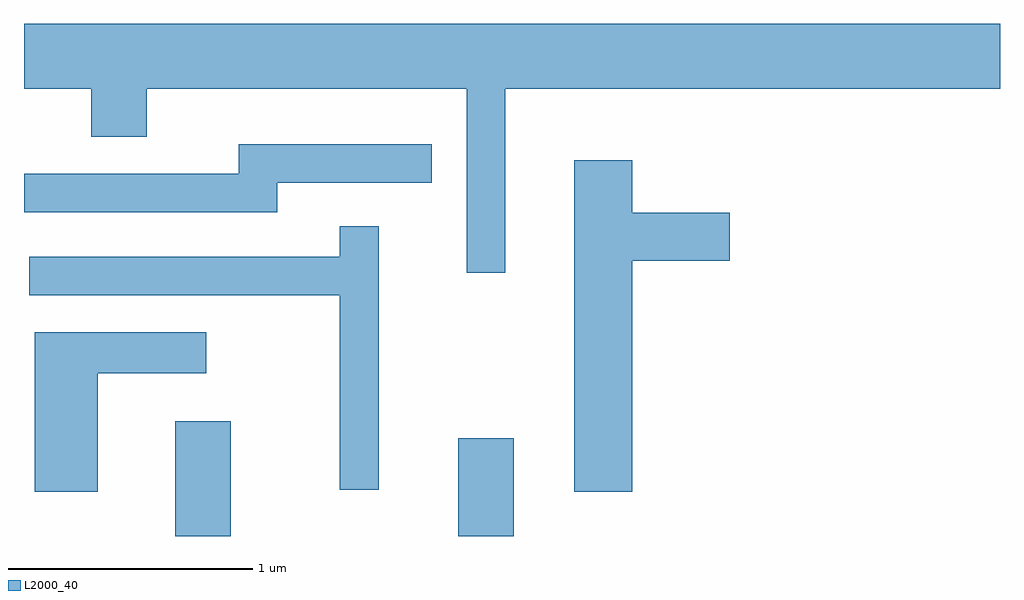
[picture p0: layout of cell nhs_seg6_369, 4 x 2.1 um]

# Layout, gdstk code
import gdstk
lib = gdstk.Library(unit=1e-6, precision=1e-09)
def R(c, l, rs):  # rectangles x0, y0, x1, y1
    for r in rs: c.add(gdstk.rectangle(r[:2], r[2:], *l))
def P(c, l, *ps):  # polygons
    for p in ps: c.add(gdstk.Polygon(p, *l))
L2000_40 = (2000, 40)

nhs_seg6_369 = lib.new_cell('nhs_seg6_369')
R(nhs_seg6_369, L2000_40, [(196.231,1588.162,196.459,1588.634), (197.391,1588.162,197.619,1588.564)])
P(nhs_seg6_369, L2000_40, [(197.584,1589.996),(199.611,1589.996),(199.611,1590.264),(195.611,1590.264),(195.611,1589.996),(195.886,1589.996),(195.886,1589.801),(196.114,1589.801),(196.114,1589.996),(197.426,1589.996),(197.426,1589.243),(197.584,1589.243)],
  [(196.649,1589.611),(197.283,1589.611),(197.283,1589.769),(196.491,1589.769),(196.491,1589.649),(195.611,1589.649),(195.611,1589.491),(196.649,1589.491)],
  [(198.104,1589.291),(198.504,1589.291),(198.504,1589.489),(198.104,1589.489),(198.104,1589.704),(197.866,1589.704),(197.866,1588.346),(198.104,1588.346)],
  [(197.064,1589.433),(196.906,1589.433),(196.906,1589.309),(195.633,1589.309),(195.633,1589.151),(196.906,1589.151),(196.906,1588.353),(197.064,1588.353)],
  [(195.914,1588.831),(196.358,1588.831),(196.358,1588.999),(195.656,1588.999),(195.656,1588.346),(195.914,1588.346)])

lib.write_gds('nhs_seg6_369.gds')
